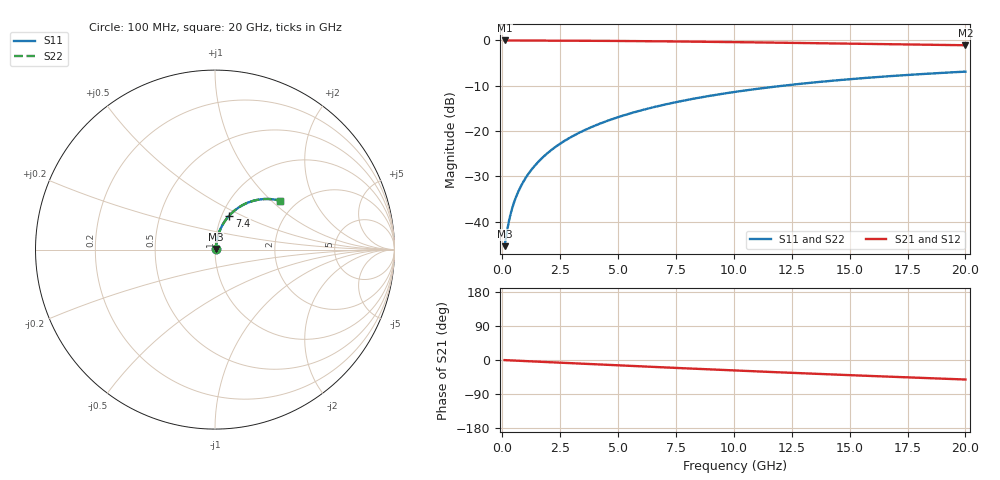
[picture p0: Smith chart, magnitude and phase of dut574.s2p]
! Touchstone file exported from HFSS 2026.1.0
!  File:  C:/ffzhzh/LocalFiles/Ansys_Project_Files/temp_train_TMRDL_574_1783008110_55676.aedt
!  Generated:  12:03:35 AM Jul  3, 2026
!  Design:  TMRDL
!  Project:  temp_train_TMRDL_574_1783008110_55676
! Variables:
!  h_bsmrdl = 2um
!  h_ox = 20um
!  h_rdl = 5um
!  h_sub = 80um
!  h_tmrdl = 2.35um
!  h_tsv = 80um
!  h_via = 3um
!  l_bsmrdl = 300um
!  l_sub = 1160.01um
!  l_tmrdl = 760.01um
!  m_sub = 200um
!  pitch = 59.73um
!  r_tsv = 6um
!  s_tmrdl = 10um
!  w_bsmrdl = 18um
!  w_sub = 500um
!  w_tmrdl = 28.74um
!  x_tsv_center1 = 774.38um
!  x_tsv_center2 = 1092.38um
!  x_tsv_center3 = 1881.13um
!  x_tsv_center4 = 2199.13um
!  x_tsv_center5 = 2987.88um
!  x_tsv_center6 = 3305.88um
# GHz S MA R 50.000000
! Terminal data exported
! Port[1] = TM_RDL1_1_T1
! Port[2] = TM_RDL1_1_T2
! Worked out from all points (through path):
!   200 points, 100 MHz to 20 GHz, reference 50 ohm
!   highest |S21| = -0.04 dB at 100 MHz (marker M1); lowest = -1.1 dB at 20 GHz (marker M2)
!   group delay of S21, straight-line fit = 7.17 ps
!   lowest |S11| = -45.4 dB at 100 MHz (marker M3), VSWR 1.01, Z = 50.4 + j0.323 ohm
!   |S11| at or under -10 dB: start of sweep to 12.15 GHz
!   |S22| runs from -45.4 to -6.9 dB; largest |S21 - S12| = 2.4e-14
!   S11 on the Smith chart (normalised r, x): 100 MHz: 1.01, +0.01; 7.4 GHz: 1.08, +0.43; 20 GHz: 1.64, +1.13
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0.1  0.00538 36.5  0.9957 -0.3  0.9957 -0.3  0.00538 36.5
! Gamma 0 0 0 0
! Port Impedance 50 0 50 0
0.2  0.007796 54.4  0.9955 -0.6  0.9955 -0.6  0.007796 54.4
0.3  0.01054 62.7  0.9953 -0.9  0.9953 -0.9  0.01054 62.7
0.4  0.01335 67.2  0.995 -1.2  0.995 -1.2  0.01335 67.2
0.5  0.01615 70.1  0.9948 -1.5  0.9948 -1.5  0.01615 70.1
0.6  0.01895 72.1  0.9946 -1.8  0.9946 -1.8  0.01895 72.1
0.8  0.02453 74.8  0.9942 -2.3  0.9942 -2.3  0.02453 74.8
1.1  0.03294 76.9  0.9938 -3.2  0.9938 -3.2  0.03294 76.9
1.3  0.03857 77.7  0.9935 -3.7  0.9935 -3.7  0.03857 77.7
1.6  0.04705 78.3  0.993 -4.6  0.993 -4.6  0.04705 78.3
2.1  0.06122 78.4  0.9921 -6.0  0.9921 -6.0  0.06122 78.4
2.7  0.0782 77.8  0.9908 -7.7  0.9908 -7.7  0.0782 77.8
3.5  0.1007 76.5  0.9886 -9.9  0.9886 -9.9  0.1007 76.5
4.2  0.1202 75.0  0.9863 -11.9  0.9863 -11.9  0.1202 75.0
5  0.1421 73.2  0.9831 -14.1  0.9831 -14.1  0.1421 73.2
6.8  0.19 68.8  0.9745 -19.0  0.9745 -19.0  0.19 68.8
7.4  0.2054 67.3  0.9712 -20.6  0.9712 -20.6  0.2054 67.3
8.7  0.2378 64.0  0.9634 -24.1  0.9634 -24.1  0.2378 64.0
10.1  0.271 60.5  0.9541 -27.8  0.9541 -27.8  0.271 60.5
13.4  0.3419 52.3  0.9303 -36.1  0.9303 -36.1  0.3419 52.3
16.7  0.4019 44.6  0.9055 -44.0  0.9055 -44.0  0.4019 44.6
20  0.4513 37.2  0.8817 -51.5  0.8817 -51.5  0.4513 37.2
